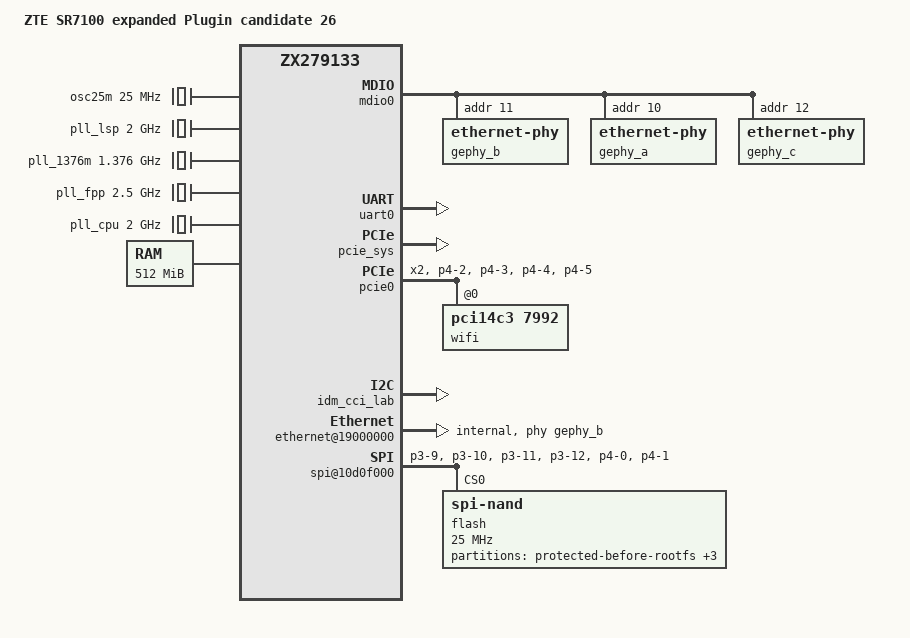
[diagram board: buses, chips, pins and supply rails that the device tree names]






/dts-v1/;



/ {
 compatible = "zte,zx279133";
 #address-cells = <2>;
 #size-cells = <2>;
 interrupt-parent = <&gic>;

 osc25m: oscillator-25m {
  compatible = "fixed-clock";
  #clock-cells = <0>;
  clock-frequency = <25000000>;
 };


 pll_lsp: clock-pll-lsp-2000m {
  compatible = "fixed-clock";
  #clock-cells = <0>;
  clock-frequency = <2000000000>;
  clock-output-names = "pll_lsp_2000m";
 };

 pll_1376m: clock-pll-1376m256 {
  compatible = "fixed-clock";
  #clock-cells = <0>;
  clock-frequency = <1376256000>;
  clock-output-names = "pll_1376m_clk";
 };

 pll_fpp: clock-pll-fpp-2500m {
  compatible = "fixed-clock";
  #clock-cells = <0>;
  clock-frequency = <2500000000>;
  clock-output-names = "pll_fpp_2500m_clk";
 };


 pll_cpu: clock-pll-cpu-2000m {
  compatible = "fixed-clock";
  #clock-cells = <0>;
  clock-frequency = <2000000000>;
  clock-output-names = "pll_2000m_clk";
 };

 cpus {
  #address-cells = <2>;
  #size-cells = <0>;

  cpu@0 {
   compatible = "arm,cortex-a53";
   device_type = "cpu";
   reg = <0x0 0x0>;
   clocks = <&topcrm 16>;
   enable-method = "psci";
  };

  cpu@1 {
   compatible = "arm,cortex-a53";
   device_type = "cpu";
   reg = <0x0 0x1>;
   clocks = <&topcrm 16>;
   enable-method = "psci";
  };
 };

 psci {
  compatible = "arm,psci-0.2";
  method = "smc";
 };

 gic: interrupt-controller@500000 {
  compatible = "arm,gic-v3";
  #address-cells = <0>;
  #interrupt-cells = <3>;
  interrupt-controller;
  reg = <0x0 0x00500000 0x0 0x10000>,
        <0x0 0x00540000 0x0 0x80000>;
  interrupts = <1 9 4>;
 };

 timer {
  compatible = "arm,armv8-timer";
  interrupts = <1 13 ((((1 << (2)) - 1) << 8) |
     8)>,
        <1 14 ((((1 << (2)) - 1) << 8) |
     8)>,
        <1 11 ((((1 << (2)) - 1) << 8) |
     8)>,
        <1 10 ((((1 << (2)) - 1) << 8) |
     8)>;
 };

 soc {
  compatible = "simple-bus";
  #address-cells = <2>;
  #size-cells = <2>;
  ranges;

  topcrm: clock-controller@10e10000 {
   compatible = "zte,zx279133-topcrm", "syscon";
   reg = <0x0 0x10e10000 0x0 0x60>;
   clocks = <&osc25m>, <&pll_lsp>, <&pll_1376m>, <&pll_fpp>,
     <&pll_cpu>;
   clock-names = "osc25m", "pll-lsp", "pll-1376m",
          "pll-fpp", "pll-cpu";
   #clock-cells = <1>;
  };

  top_reset: reset-controller@10e10060 {
   compatible = "zte,zx296718-reset";
   reg = <0x0 0x10e10060 0x0 0x4>;
   #reset-cells = <1>;
  };

  local_reset: reset-controller@10e10070 {
   compatible = "zte,zx296718-reset";
   reg = <0x0 0x10e10070 0x0 0x8>;
   #reset-cells = <1>;
  };

  topcrm_wdt: syscon@10e10208 {
   compatible = "zte,zx279133-wdt-reset", "syscon";
   reg = <0x0 0x10e10208 0x0 0x4>;
  };

  lsp0_clk: clock-controller@10d00000 {
   compatible = "zte,zx279133-lsp-clk", "syscon";
   reg = <0x0 0x10d00000 0x0 0x100>;
   clocks = <&topcrm 2>,
     <&topcrm 1>,
     <&topcrm 0>,
     <&topcrm 6>;
   clock-names = "pclk", "wclk25", "wclk100", "spifc_wclk";
   #clock-cells = <1>;
   #reset-cells = <1>;
  };

  mdio0: mdio@14f01000 {
   compatible = "zte,zx279133-mdio";
   reg = <0 0x14f01000 0 0x1000>;
   clocks = <&lsp1_clk 8>,
     <&lsp1_clk 9>;
   clock-names = "pclk", "wclk";
   resets = <&lsp1_clk 0>;
   #address-cells = <1>;
   #size-cells = <0>;
   status = "disabled";
  };

  mdio1: mdio@14f02000 {
   compatible = "zte,zx279133-mdio";
   reg = <0 0x14f02000 0 0x1000>;
   clocks = <&lsp1_clk 10>,
     <&lsp1_clk 11>;
   clock-names = "pclk", "wclk";
   resets = <&lsp1_clk 1>;
   #address-cells = <1>;
   #size-cells = <0>;
   status = "disabled";
  };

  uart0: serial@10d0d000 {
   compatible = "zte,zx279133-uart", "arm,pl011",
         "arm,primecell";
   arm,primecell-periphid = <0x001feffe>;
   reg = <0x0 0x10d0d000 0x0 0x1000>;
   interrupts = <0 31 4>;
   clocks = <&lsp0_clk 1>,
     <&lsp0_clk 0>;
   clock-names = "uartclk", "apb_pclk";
   resets = <&lsp0_clk 0>;
   assigned-clocks = <&lsp0_clk 1>;
   assigned-clock-parents =
    <&topcrm 1>;
   assigned-clock-rates = <25000000>;
   status = "disabled";
  };

  pinctrl: pinctrl@10e20000 {
   compatible = "zte,zx279133-pinctrl";
   reg = <0x0 0x10e20000 0x0 0x1000>;

   spifc_pins: spifc-pins {
    function = "spifc";
    pins = "p3-9", "p3-10", "p3-11", "p3-12",
           "p4-0", "p4-1";
   };
  };

  gpio0: gpio@10d10000 {
   compatible = "zte,zx279133-gpio";
   reg = <0x0 0x10d10000 0x0 0x40>;
   interrupts = <0 34 4>;
   gpio-controller;
   #gpio-cells = <2>;
   gpio-ranges = <&pinctrl 0 14 1>, <&pinctrl 1 0 14>,
          <&pinctrl 15 15 1>;
   ngpios = <16>;
   interrupt-controller;
   #address-cells = <0>;
   #interrupt-cells = <2>;
  };

  gpio1: gpio@10d10040 {
   compatible = "zte,zx279133-gpio";
   reg = <0x0 0x10d10040 0x0 0x40>;
   interrupts = <0 35 4>;
   gpio-controller;
   #gpio-cells = <2>;
   gpio-ranges = <&pinctrl 0 16 9>, <&pinctrl 9 66 4>,
          <&pinctrl 13 25 3>;
   ngpios = <16>;
   interrupt-controller;
   #address-cells = <0>;
   #interrupt-cells = <2>;
  };

  gpio2: gpio@10d10080 {
   compatible = "zte,zx279133-gpio";
   reg = <0x0 0x10d10080 0x0 0x40>;
   interrupts = <0 36 4>;
   gpio-controller;
   #gpio-cells = <2>;
   gpio-ranges = <&pinctrl 0 28 16>;
   ngpios = <16>;
   interrupt-controller;
   #address-cells = <0>;
   #interrupt-cells = <2>;
  };

  gpio3: gpio@10d100c0 {
   compatible = "zte,zx279133-gpio";
   reg = <0x0 0x10d100c0 0x0 0x40>;
   interrupts = <0 37 4>;
   gpio-controller;
   #gpio-cells = <2>;
   gpio-ranges = <&pinctrl 0 44 16>;
   ngpios = <16>;
   interrupt-controller;
   #address-cells = <0>;
   #interrupt-cells = <2>;
  };

  gpio4: gpio@10d10100 {
   compatible = "zte,zx279133-gpio";
   reg = <0x0 0x10d10100 0x0 0x40>;
   interrupts = <0 38 4>;
   gpio-controller;
   #gpio-cells = <2>;
   gpio-ranges = <&pinctrl 0 60 6>;
   ngpios = <6>;
   interrupt-controller;
   #address-cells = <0>;
   #interrupt-cells = <2>;
  };

  lsp1_clk: clock-controller@14f00000 {
   compatible = "zte,zx279133-lsp1-clk";
   reg = <0x0 0x14f00000 0x0 0x100>;
   clocks = <&topcrm 4>,
     <&topcrm 3>,
     <&topcrm 11>,
     <&topcrm 17>;
   clock-names = "pclk", "wclk32k", "wclk25m", "wclk100m";
   #clock-cells = <1>;
   #reset-cells = <1>;
  };

  watchdog0: watchdog@14f09000 {
   compatible = "zte,zx279133-watchdog";
   reg = <0x0 0x14f09000 0x0 0x1000>;
   clocks = <&lsp1_clk 0>,
     <&lsp1_clk 1>;
   clock-names = "pclk", "wdtclk";
   zte,reset-controller = <&topcrm_wdt>;
   zte,reset-offset = <0x0>;
   zte,reset-mask = <0x10>;
   zte,restart-watchdog;
   timeout-sec = <10>;
   status = "disabled";
  };

  watchdog1: watchdog@14f0a000 {
   compatible = "zte,zx279133-watchdog";
   reg = <0x0 0x14f0a000 0x0 0x1000>;
   clocks = <&lsp1_clk 2>,
     <&lsp1_clk 3>;
   clock-names = "pclk", "wdtclk";
   zte,reset-controller = <&topcrm_wdt>;
   zte,reset-offset = <0x0>;
   zte,reset-mask = <0x20>;
   timeout-sec = <10>;
   status = "disabled";
  };

 };
};


&pinctrl {
 pcie0_pins: pcie0-pins { function = "pcie0"; pins = "p4-2", "p4-3"; };
 pcie1_pins: pcie1-pins { function = "pcie1"; pins = "p4-4", "p4-5"; };
};

/ {
 soc {
  pcie_sys: syscon@10e00000 {
   compatible = "zte,zx279133-pcie-sys", "syscon";
   reg = <0 0x10e00000 0 0x100>;
  };
  pcie0: pcie@15200000 {
   compatible = "zte,zx279133-pcie";
   device_type = "pci";
   #address-cells = <3>;
   #size-cells = <2>;
   #interrupt-cells = <1>;
   linux,pci-domain = <0>;
   bus-range = <0 255>;
   num-lanes = <2>;
   max-link-speed = <3>;
   reg = <0 0x15200000 0 0x2000>,
         <0 0x15204000 0 0x1000>,
         <0 0x1f000000 0 0x400000>,
         <0 0x2f800000 0 0x800000>,
         <0 0x00600060 0 4>;
   reg-names = "csr", "phy", "dbi", "config", "irq-mode";

   ranges = <0x02000000 0 0x20000000 0 0x20000000 0 0x0f000000>;
   dma-ranges = <0x42000000 0 0x80000000 0 0x80000000 0 0x40000000>;
   dma-coherent;
   clocks = <&topcrm 28>,
     <&topcrm 29>;
   clock-names = "pclk", "cci";
   resets = <&top_reset 6>;
   reset-names = "core";
   zte,syscon = <&pcie_sys>;

   interrupt-map-mask = <0 0 0 7>;
   interrupt-map = <0 0 0 1 &gic 0 113 4>,
     <0 0 0 2 &gic 0 112 4>,
     <0 0 0 3 &gic 0 111 4>,
     <0 0 0 4 &gic 0 110 4>;
   pinctrl-names = "default";
   pinctrl-0 = <&pcie0_pins &pcie1_pins>;
   status = "disabled";
  };
 };
};

/ {
 model = "ZTE ZX279133 F35SQA RAM development board";
 compatible = "zte,zx279133-f35sqa", "zte,zx279133";
 aliases {
  serial0 = &uart0;
  gpio0 = &gpio0;
  gpio1 = &gpio1;
  gpio2 = &gpio2;
  gpio3 = &gpio3;
  gpio4 = &gpio4;
 };
 chosen {
  stdout-path = "serial0:115200n8";

  bootargs = "console=ttyAMA0,115200 earlycon=zteuart,0x10d0d000 rdinit=/init clk_ignore_unused";
 };
 memory@80000000 {
  device_type = "memory";
  reg = <0 0x80000000 0 0x20000000>;
 };
 reserved-memory {
  #address-cells = <2>;
  #size-cells = <2>;
  ranges;



  vendor-high@9a600000 {
   reg = <0 0x9a600000 0 0x05a00000>;
   no-map;
  };
  vendor-low@85ff3000 {
   reg = <0 0x85ff3000 0 0x0000a000>;
   no-map;
  };
 };
};

&uart0 { status = "okay"; };




&watchdog0 { status = "disabled"; };
&watchdog1 { status = "disabled"; };

&pcie0 {

 vendor-power-gpios = <&gpio1 2 0>,
        <&gpio2 5 0>,
        <&gpio0 7 0>,
        <&gpio0 8 0>,
        <&gpio2 6 0>;
 status = "disabled";
};
/ {
 model = "ZTE SR7100 SMAC1 RAM laboratory";
 reserved-memory {
  /delete-node/ vendor-high@9a600000;
  vendor-preserve@9a600000 { reg = <0 0x9a600000 0 0x00a00000>; no-map; };
  bmu_lab: buffer@9b000000 { reg = <0 0x9b000000 0 0x00f00000>; no-map; };
  se_lab: buffer@9bf00000 { reg = <0 0x9bf00000 0 0x01000000>; no-map; };
  idm_lab: buffer@9cf00000 { reg = <0 0x9cf00000 0 0x00a00000>; no-map; };
  vendor-preserve@9d900000 { reg = <0 0x9d900000 0 0x02700000>; no-map; };
 };
};
&mdio0 {
 status = "okay";
 gephy_b: ethernet-phy@b { reg = <0xb>; };
};
&{/soc} {
 idm_cci_lab: syscon@10e00078 {
  compatible = "zte,zx279133-idm-cci", "syscon";
  reg = <0 0x10e00078 0 8>;
 };
 pon_route_lab: syscon@17000080 {
  compatible = "zte,zx279133-pon-route", "syscon";
  reg = <0 0x17000080 0 4>;
 };
 ethernet@19000000 {
  compatible = "zte,sr7100-nppt-smac1-lab";
  reg = <0 0x19000000 0 0x1000000>, <0 0x18000000 0 0x1000000>;
  reg-names = "nppt", "pps";
  interrupts = <0 5 4>,
        <0 1 4>,
        <0 2 4>,
        <0 3 4>,
        <0 4 4>;
  interrupt-names = "nppt", "rx", "idm", "buffer-release", "local-test";
  clocks = <&topcrm 22>,
    <&topcrm 23>,
    <&topcrm 24>,
    <&topcrm 25>,
    <&topcrm 20>,
    <&topcrm 26>;
  clock-names = "idm-aclk", "tm-aclk", "pclk", "smac-wclk", "woe1-wclk", "mac-wclk";
  zte,pon-route = <&pon_route_lab>;
  zte,idm-cci = <&idm_cci_lab>;
  memory-region = <&bmu_lab>, <&se_lab>, <&idm_lab>;
  memory-region-names = "bmu", "se-hash", "idm";
  phy-mode = "internal";
  phy-handle = <&gephy_b>;
  local-mac-address = [02 71 00 00 00 01];
  status = "okay";
 };
};
/ { model = "ZTE SR7100 NAND read-only RAM laboratory"; };
&{/soc} {
 spi@10d0f000 {
  compatible = "zte,sr7100-sfc-readonly-lab";
  reg = <0 0x10d0f000 0 0x1000>;
  interrupts = <0 33 4>;
  clocks = <&lsp0_clk 2>, <&lsp0_clk 3>;
  clock-names = "pclk", "wclk";
  resets = <&lsp0_clk 1>;
  zte,spi-chipselect = <&lsp0_clk 0x2c 0x20000000>;
  spi-max-frequency = <25000000>;
  pinctrl-names = "default";
  pinctrl-0 = <&spifc_pins>;
  #address-cells = <1>;
  #size-cells = <0>;
  status = "okay";
  flash@0 {
   compatible = "spi-nand";
   reg = <0>;
   spi-max-frequency = <25000000>;
   spi-rx-bus-width = <1>;
   spi-tx-bus-width = <1>;
   read-only;
  };
 };
};
/ { model = "ZTE SR7100 expanded Plugin candidate 26"; };
&mdio0 {
    gephy_a: ethernet-phy@a { reg = <0xa>; };
    gephy_c: ethernet-phy@c { reg = <0xc>; };
};
&{/soc/ethernet@19000000} {
    zte,smac-index = <1>;
    phy-handle = <&gephy_b>;
    wan-port { phy-mode = "internal"; phy-handle = <&gephy_a>; };
    lan2-port { phy-mode = "internal"; phy-handle = <&gephy_c>; };
};
&pcie0 {
    status = "okay";
    pcie@0,0 {
        device_type = "pci";
        reg = <0 0 0 0 0>;
        #address-cells = <3>;
        #size-cells = <2>;
        ranges;
        wifi@0,0 {
            compatible = "pci14c3,7992";
            reg = <0 0 0 0 0>;
            mediatek,eeprom-data = /incbin/("mt7992-eeprom.bin");
        };
    };
};
&{/soc/spi@10d0f000/flash@0} {
    partitions {
        compatible = "fixed-partitions";
        #address-cells = <1>;
        #size-cells = <1>;
        partition@0 { label = "protected-before-rootfs"; reg = <0 0xf80000>; read-only; };
        partition@f80000 { label = "rootfs"; reg = <0xf80000 0x2440000>; read-only; };
        partition@33c0000 { label = "protected-slots"; reg = <0x33c0000 0x300000>; read-only; };
        plugin_data: partition@36c0000 { label = "Plugin"; reg = <0x36c0000 0x4940000>; read-only; };
    };
};
